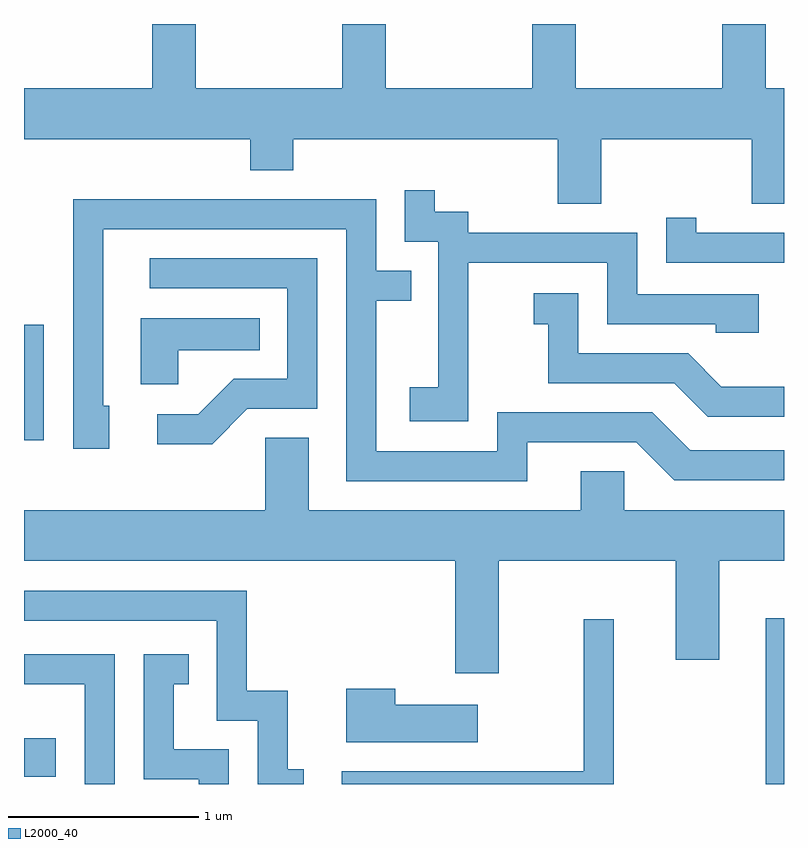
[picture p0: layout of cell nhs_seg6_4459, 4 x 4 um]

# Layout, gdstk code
import gdstk
lib = gdstk.Library(unit=1e-6, precision=1e-09)
def R(c, l, rs):  # rectangles x0, y0, x1, y1
    for r in rs: c.add(gdstk.rectangle(r[:2], r[2:], *l))
def P(c, l, *ps):  # polygons
    for p in ps: c.add(gdstk.Polygon(p, *l))
L2000_40 = (2000, 40)

nhs_seg6_4459 = lib.new_cell('nhs_seg6_4459')
R(nhs_seg6_4459, L2000_40, [(325.516,1582.162,325.611,1583.034), (321.611,1582.201,321.779,1582.404), (321.611,1583.971,321.714,1584.578)])
P(nhs_seg6_4459, L2000_40, [(324.649,1585.556),(325.441,1585.556),(325.441,1585.216),(325.611,1585.216),(325.611,1585.824),(325.514,1585.824),(325.514,1586.162),(325.286,1586.162),(325.286,1585.824),(324.514,1585.824),(324.514,1586.162),(324.286,1586.162),(324.286,1585.824),(323.514,1585.824),(323.514,1586.162),(323.286,1586.162),(323.286,1585.824),(322.514,1585.824),(322.514,1586.162),(322.286,1586.162),(322.286,1585.824),(321.611,1585.824),(321.611,1585.556),(322.801,1585.556),(322.801,1585.391),(323.029,1585.391),(323.029,1585.556),(324.421,1585.556),(324.421,1585.216),(324.649,1585.216)],
  [(323.949,1584.906),(324.681,1584.906),(324.681,1584.581),(325.251,1584.581),(325.251,1584.536),(325.479,1584.536),(325.479,1584.739),(324.839,1584.739),(324.839,1585.064),(323.949,1585.064),(323.949,1585.174),(323.774,1585.174),(323.774,1585.288),(323.616,1585.288),(323.616,1585.016),(323.791,1585.016),(323.791,1584.249),(323.641,1584.249),(323.641,1584.071),(323.949,1584.071)],
  [(324.259,1583.961),(324.834,1583.961),(325.034,1583.761),(325.611,1583.761),(325.611,1583.919),(325.117,1583.919),(324.917,1584.119),(324.101,1584.119),(324.101,1583.914),(323.464,1583.914),(323.464,1584.706),(323.648,1584.706),(323.648,1584.864),(323.464,1584.864),(323.464,1585.239),(321.871,1585.239),(321.871,1583.926),(322.059,1583.926),(322.059,1584.154),(322.029,1584.154),(322.029,1585.081),(323.306,1585.081),(323.306,1583.756),(324.259,1583.756)],
  [(325.611,1585.064),(325.149,1585.064),(325.149,1585.143),(324.991,1585.143),(324.991,1584.906),(325.611,1584.906)],
  [(322.787,1584.136),(323.154,1584.136),(323.154,1584.929),(322.273,1584.929),(322.273,1584.771),(322.996,1584.771),(322.996,1584.294),(322.714,1584.294),(322.529,1584.109),(322.313,1584.109),(322.313,1583.951),(322.602,1583.951)],
  [(325.611,1584.254),(325.282,1584.254),(325.107,1584.429),(324.529,1584.429),(324.529,1584.744),(324.293,1584.744),(324.293,1584.581),(324.371,1584.581),(324.371,1584.271),(325.034,1584.271),(325.209,1584.096),(325.611,1584.096)],
  [(322.424,1584.446),(322.853,1584.446),(322.853,1584.614),(322.226,1584.614),(322.226,1584.266),(322.424,1584.266)],
  [(324.109,1583.336),(325.041,1583.336),(325.041,1582.816),(325.269,1582.816),(325.269,1583.336),(325.611,1583.336),(325.611,1583.604),(324.769,1583.604),(324.769,1583.809),(324.541,1583.809),(324.541,1583.604),(323.109,1583.604),(323.109,1583.984),(322.881,1583.984),(322.881,1583.604),(321.611,1583.604),(321.611,1583.336),(323.881,1583.336),(323.881,1582.746),(324.109,1582.746)],
  [(323.083,1582.239),(322.999,1582.239),(322.999,1582.654),(322.784,1582.654),(322.784,1583.179),(321.611,1583.179),(321.611,1583.021),(322.626,1583.021),(322.626,1582.496),(322.841,1582.496),(322.841,1582.162),(323.083,1582.162)],
  [(324.714,1583.028),(324.556,1583.028),(324.556,1582.229),(323.283,1582.229),(323.283,1582.162),(324.714,1582.162)],
  [(322.089,1582.844),(321.611,1582.844),(321.611,1582.686),(321.931,1582.686),(321.931,1582.162),(322.089,1582.162)],
  [(322.689,1582.344),(322.399,1582.344),(322.399,1582.686),(322.478,1582.686),(322.478,1582.844),(322.241,1582.844),(322.241,1582.186),(322.531,1582.186),(322.531,1582.162),(322.689,1582.162)],
  [(323.999,1582.579),(323.564,1582.579),(323.564,1582.664),(323.306,1582.664),(323.306,1582.381),(323.999,1582.381)])

lib.write_gds('nhs_seg6_4459.gds')
